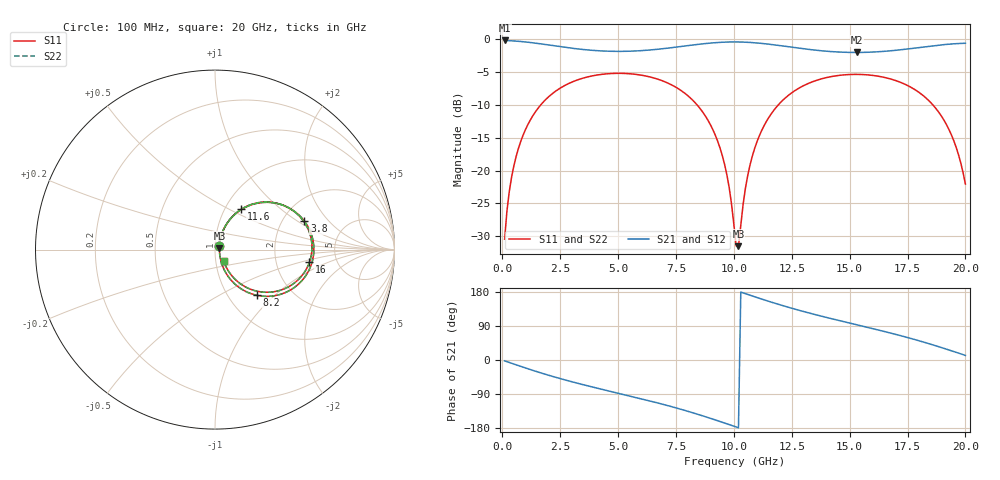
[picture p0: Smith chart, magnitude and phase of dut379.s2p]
! Touchstone file exported from HFSS 2026.1.0
!  File:  C:/ffzhzh/LocalFiles/Ansys_Project_Files/temp_train_TSV_RDL_379_1783042264_51716.aedt
!  Generated:  09:50:59 AM Jul  3, 2026
!  Design:  TSV_RDL
!  Project:  temp_train_TSV_RDL_379_1783042264_51716
! Variables:
!  h_bsmrdl = 3.06um
!  h_ox = 20um
!  h_rdl = 5um
!  h_sub = 63.82um
!  h_tmrdl = 5.62um
!  h_tsv = 63.82um
!  h_via = 3um
!  l_bsmrdl = 630.24um
!  l_sub = 6219.56um
!  l_tmrdl = 943um
!  m_sub = 200um
!  pitch = 56.88um
!  r_tsv = 6.99um
!  s_tmrdl = 10um
!  w_bsmrdl = 28.43um
!  w_sub = 500um
!  w_tmrdl = 23.85um
!  x_tsv_center1 = 954.925um
!  x_tsv_center2 = 1613.595um
!  x_tsv_center3 = 2580.445um
!  x_tsv_center4 = 3239.115um
!  x_tsv_center5 = 4205.965um
!  x_tsv_center6 = 4864.635um
# GHz S MA R 50.000000
! Terminal data exported
! Port[1] = TM_RDL1_1_T1
! Port[2] = TM_RDL5_1_T1
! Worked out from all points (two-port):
!   200 points, 100 MHz to 20 GHz, reference 50 ohm
!   highest |S21| = -0.17 dB at 100 MHz (marker M1); lowest = -2.0 dB at 15.3 GHz (marker M2)
!   |S21| within 3 dB of the highest: start of sweep to end of sweep
!   lowest |S11| = -31.5 dB at 10.2 GHz (marker M3), VSWR 1.05, Z = 52.5 + j1 ohm
!   |S11| at or under -10 dB: start of sweep to 1.66 GHz; 8.414 GHz to 11.92 GHz (3.505 GHz wide, 34.5 % of centre); 18.6 GHz to end of sweep
!   |S22| runs from -31.6 to -5.2 dB; largest |S21 - S12| = 1.6e-14
!   S11 on the Smith chart (normalised r, x): 100 MHz: 1.04, +0.05; 3.8 GHz: 2.62, +1.14; 8.2 GHz: 1.35, -0.78; 11.6 GHz: 1.19, +0.58; 16 GHz: 3.13, -0.61; 20 GHz: 1.09, -0.14
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0.1  0.03001 47.0  0.9802 -2.2  0.9802 -2.2  0.03001 47.0
! Gamma 0 0 0 0
! Port Impedance 50 0 50 0
0.3  0.06891 65.2  0.9762 -6.5  0.9762 -6.5  0.06891 65.2
0.5  0.1087 67.2  0.9716 -10.7  0.9716 -10.7  0.1087 67.2
1.1  0.2232 60.7  0.9507 -23.0  0.9507 -23.0  0.2232 60.7
2.1  0.3779 44.1  0.9002 -42.1  0.9002 -42.1  0.3779 44.1
3.5  0.5069 22.1  0.8361 -65.3  0.8361 -65.3  0.5069 22.1
3.8  0.5227 17.7  0.8267 -69.9  0.8267 -69.9  0.5227 17.7
6.8  0.4912 -25.2  0.8431 -114.7  0.8431 -114.7  0.4913 -25.2
8.2  0.347 -47.3  0.904 -138.8  0.904 -138.8  0.347 -47.4
9.5  0.1304 -65.3  0.95 -164.3  0.95 -164.3  0.1304 -65.5
9.8  0.07394 -62.8  0.9541 -170.5  0.9541 -170.5  0.07386 -63.0
10.1  0.02673 -20.7  0.955 -176.7  0.955 -176.7  0.02646 -21.0
10.2  0.02655 21.1  0.9545 -178.8  0.9545 -178.8  0.02628 21.3
10.7  0.1106 66.7  0.9468 170.9  0.9468 170.9  0.1105 66.8
11.6  0.2682 56.9  0.9142 153.0  0.9142 153.0  0.2682 57.0
13.4  0.4752 28.9  0.8313 121.6  0.8313 121.6  0.4752 28.9
15.3  0.5406 2.1  0.794 93.1  0.794 93.1  0.5406 2.0
16  0.5309 -7.6  0.7997 82.8  0.7997 82.8  0.5309 -7.6
16.7  0.5026 -17.5  0.8155 72.2  0.8155 72.2  0.5026 -17.5
18.8  0.286 -49.1  0.9004 36.1  0.9004 36.1  0.2859 -49.2
19.5  0.1686 -57.4  0.9242 22.3  0.9242 22.3  0.1685 -57.5
20  0.07895 -52.5  0.9332 12.1  0.9332 12.1  0.07881 -52.7
